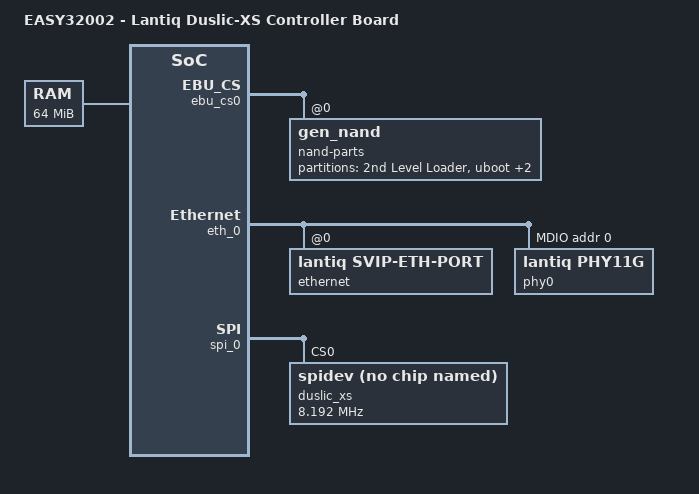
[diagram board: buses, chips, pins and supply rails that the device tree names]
/dts-v1/;

#include "svip.dtsi"

/ {
	model = "EASY32002 - Lantiq Duslic-XS Controller Board";
	compatible = "lantiq,easy32002", "lantiq,svip";

	memory@0 {
		device_type = "memory";
		reg = <0x0 0x4000000>;  // 64M at 0x0
	};

	svip_reset@0 {
		compatible = "lantiq,svip-reset";
		svip-toggle-reset-pin = <0x120000f3 0x80>;
	};
};

&ebu_cs0 {
	nand-parts@0 {
		#address-cells = <1>;
		#size-cells = <1>;
		compatible = "gen_nand", "lantiq,nand-svip";
		bank-width = <1>;
		reg = <0x0 0x2000000>;
		linux,mtd-name = "gen_nand";
		bbt-use-flash;
		
		partition@0 {
			label = "2nd Level Loader";
			reg = <0x0 0x4000>;
		};
		
		partition@4000 {
			label = "uboot";
			reg = <0x4000 0x4C000>;
		};

		partition@50000 {
			label = "uboot_env";
			reg = <0x50000 0x10000>;
		};

		partition@60000 {
			label = "linux";
			reg = <0x60000 0x800000>;
		};
	};
};

&eth_0 {
	ethernet@0 {
		compatible = "lantiq,svip-eth-port";
		reg = <0>;
		phy-handle = <&phy0>;
	};

	mdio@0 {
		#address-cells = <1>;
		#size-cells = <0>;
		compatible = "lantiq,svip-mdio";
		phy0: ethernet-phy@0 {
			reg = <0x0>;
			compatible = "lantiq,phy11g", "ethernet-phy-ieee802.3-c22";
		};
	};
};

&spi_0 {
	status = "okay";
	gpio-xrq = <&port2 18 0>;

	duslic_xs@0 {
		/* rohm,dh2228fv is a compatible of spidev driver */
		compatible = "rohm,dh2228fv";
		reg = <0>;
		spi-max-frequency = <8192000>;
	};
};
